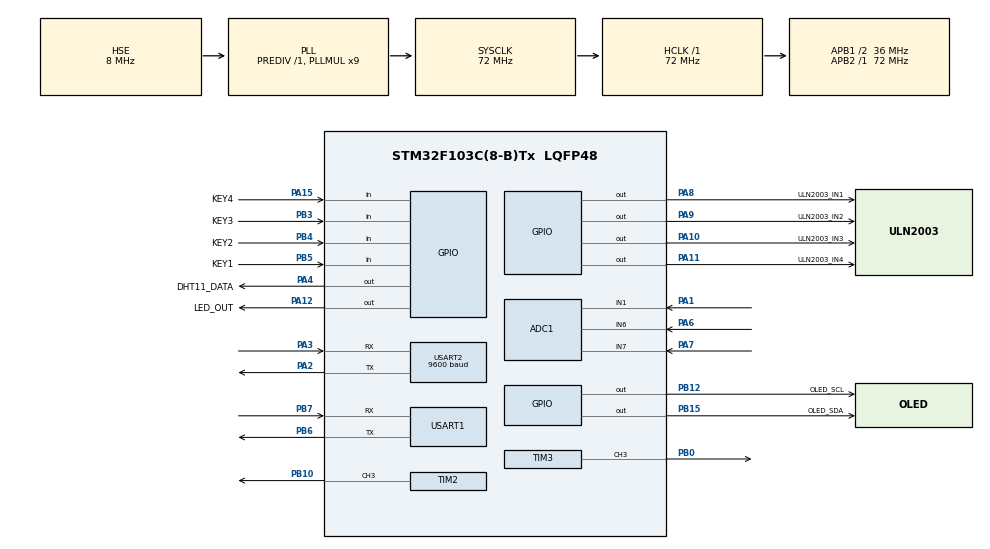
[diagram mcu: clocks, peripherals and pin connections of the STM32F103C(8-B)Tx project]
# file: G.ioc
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ADC1.Channel-0\#ChannelRegularConversion=ADC_CHANNEL_1
ADC1.Channel-2\#ChannelRegularConversion=ADC_CHANNEL_6
ADC1.Channel-3\#ChannelRegularConversion=ADC_CHANNEL_7
ADC1.DiscontinuousConvMode=ENABLE
ADC1.NbrOfConversion=3
ADC1.NbrOfConversionFlag=1
ADC1.Rank-0\#ChannelRegularConversion=1
ADC1.Rank-2\#ChannelRegularConversion=2
ADC1.Rank-3\#ChannelRegularConversion=3
ADC1.SamplingTime-0\#ChannelRegularConversion=ADC_SAMPLETIME_239CYCLES_5
ADC1.SamplingTime-2\#ChannelRegularConversion=ADC_SAMPLETIME_239CYCLES_5
ADC1.SamplingTime-3\#ChannelRegularConversion=ADC_SAMPLETIME_239CYCLES_5
ADC1.master=1
Mcu.Family=STM32F1
Mcu.Name=STM32F103C(8-B)Tx
Mcu.Package=LQFP48
NVIC.PriorityGroup=NVIC_PRIORITYGROUP_4
NVIC.USART2_IRQn=true\:0\:0\:false\:false\:true\:true\:true\:true
PA1.Signal=ADCx_IN1
PA10.GPIO_Label=ULN2003_IN3
PA10.GPIO_ModeDefaultOutputPP=GPIO_MODE_OUTPUT_PP
PA10.GPIO_PuPd=GPIO_NOPULL
PA10.GPIO_Speed=GPIO_SPEED_FREQ_HIGH
PA10.PinState=GPIO_PIN_RESET
PA10.Signal=GPIO_Output
PA11.GPIO_Label=ULN2003_IN4
PA11.GPIO_ModeDefaultOutputPP=GPIO_MODE_OUTPUT_PP
PA11.GPIO_PuPd=GPIO_NOPULL
PA11.GPIO_Speed=GPIO_SPEED_FREQ_HIGH
PA11.PinState=GPIO_PIN_RESET
PA11.Signal=GPIO_Output
PA12.GPIO_Label=LED_OUT
PA12.GPIO_PuPd=GPIO_PULLDOWN
PA12.GPIO_Speed=GPIO_SPEED_FREQ_HIGH
PA12.PinState=GPIO_PIN_RESET
PA12.Signal=GPIO_Output
PA13.Mode=Serial_Wire
PA13.Signal=SYS_JTMS-SWDIO
PA14.Mode=Serial_Wire
PA14.Signal=SYS_JTCK-SWCLK
PA15.GPIO_Label=KEY4
PA15.GPIO_Mode=GPIO_MODE_INPUT
PA15.GPIO_PuPd=GPIO_PULLUP
PA15.Signal=GPIO_Input
PA2.Mode=Asynchronous
PA2.Signal=USART2_TX
PA3.Mode=Asynchronous
PA3.Signal=USART2_RX
PA4.GPIO_Label=DHT11_DATA
PA4.GPIO_Speed=GPIO_SPEED_FREQ_HIGH
PA4.Signal=GPIO_Output
PA6.Signal=ADCx_IN6
PA7.Signal=ADCx_IN7
PA8.GPIO_Label=ULN2003_IN1
PA8.GPIO_ModeDefaultOutputPP=GPIO_MODE_OUTPUT_PP
PA8.GPIO_PuPd=GPIO_NOPULL
PA8.GPIO_Speed=GPIO_SPEED_FREQ_HIGH
PA8.PinState=GPIO_PIN_RESET
PA8.Signal=GPIO_Output
PA9.GPIO_Label=ULN2003_IN2
PA9.GPIO_ModeDefaultOutputPP=GPIO_MODE_OUTPUT_PP
PA9.GPIO_PuPd=GPIO_NOPULL
PA9.GPIO_Speed=GPIO_SPEED_FREQ_HIGH
PA9.PinState=GPIO_PIN_RESET
PA9.Signal=GPIO_Output
PB0.GPIO_Speed=GPIO_SPEED_FREQ_HIGH
PB0.Signal=S_TIM3_CH3
PB10.GPIO_Speed=GPIO_SPEED_FREQ_HIGH
PB10.Signal=S_TIM2_CH3
PB12.GPIO_Label=OLED_SCL
PB12.GPIO_Speed=GPIO_SPEED_FREQ_HIGH
PB12.PinState=GPIO_PIN_RESET
PB12.Signal=GPIO_Output
PB15.GPIO_Label=OLED_SDA
PB15.GPIO_Speed=GPIO_SPEED_FREQ_HIGH
PB15.Signal=GPIO_Output
PB3.GPIO_Label=KEY3
PB3.GPIO_Mode=GPIO_MODE_INPUT
PB3.GPIO_PuPd=GPIO_PULLUP
PB3.Signal=GPIO_Input
PB4.GPIO_Label=KEY2
PB4.GPIO_Mode=GPIO_MODE_INPUT
PB4.GPIO_PuPd=GPIO_PULLUP
PB4.Signal=GPIO_Input
PB5.GPIO_Label=KEY1
PB5.GPIO_Mode=GPIO_MODE_INPUT
PB5.GPIO_PuPd=GPIO_PULLUP
PB5.Signal=GPIO_Input
PB6.Mode=Asynchronous
PB6.Signal=USART1_TX
PB7.Mode=Asynchronous
PB7.Signal=USART1_RX
PD0-OSC_IN.Mode=HSE-External-Oscillator
PD0-OSC_IN.Signal=RCC_OSC_IN
PD1-OSC_OUT.Mode=HSE-External-Oscillator
PD1-OSC_OUT.Signal=RCC_OSC_OUT
ProjectManager.HeapSize=0x200
ProjectManager.StackSize=0x400
ProjectManager.TargetToolchain=MDK-ARM V5.32
RCC.ADCPresc=RCC_ADCPCLK2_DIV6
RCC.AHBFreq_Value=72000000
RCC.APB1CLKDivider=RCC_HCLK_DIV2
RCC.APB1Freq_Value=36000000
RCC.APB1TimFreq_Value=72000000
RCC.APB2Freq_Value=72000000
RCC.APB2TimFreq_Value=72000000
RCC.HCLKFreq_Value=72000000
RCC.PLLMUL=RCC_PLL_MUL9
RCC.PLLSourceVirtual=RCC_PLLSOURCE_HSE
RCC.SYSCLKFreq_VALUE=72000000
RCC.SYSCLKSource=RCC_SYSCLKSOURCE_PLLCLK
RCC.USBFreq_Value=72000000
SH.ADCx_IN1.0=ADC1_IN1,IN1
SH.ADCx_IN6.0=ADC1_IN6,IN6
SH.ADCx_IN7.0=ADC1_IN7,IN7
SH.S_TIM2_CH3.0=TIM2_CH3,PWM Generation3 CH3
SH.S_TIM3_CH3.0=TIM3_CH3,PWM Generation3 CH3
TIM2.AutoReloadPreload=TIM_AUTORELOAD_PRELOAD_ENABLE
TIM2.Channel-PWM\ Generation3\ CH3=TIM_CHANNEL_3
TIM2.Period=19999
TIM2.Prescaler=71
TIM2.Pulse-PWM\ Generation3\ CH3=1500
TIM3.AutoReloadPreload=TIM_AUTORELOAD_PRELOAD_ENABLE
TIM3.Channel-PWM\ Generation3\ CH3=TIM_CHANNEL_3
TIM3.Period=19999
TIM3.Prescaler=71
TIM3.Pulse-PWM\ Generation3\ CH3=440
USART1.VirtualMode=VM_ASYNC
USART2.BaudRate=9600
USART2.VirtualMode=VM_ASYNC
VP_TIM2_VS_ClockSourceINT.Mode=Internal
VP_TIM3_VS_ClockSourceINT.Mode=Internal
board=custom

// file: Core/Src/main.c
/* USER CODE BEGIN Header */
/**
  ******************************************************************************
  * @file           : main.c
  * @brief          : Main program body
  ******************************************************************************
  * @attention
  *
  * Copyright (c) 2025 STMicroelectronics.
  * All rights reserved.
  *
  * This software is licensed under terms that can be found in the LICENSE file
  * in the root directory of this software component.
  * If no LICENSE file comes with this software, it is provided AS-IS.
  *
  ******************************************************************************
  */
/* USER CODE END Header */
#include "main.h"
#include "adc.h"
#include "tim.h"
#include "usart.h"
#include "gpio.h"
#include "oled.h"
#include "dht11.h"
#include "bt04a.h"
#include "uln2003.h"
#include "stdio.h"
#include "string.h"
#include "SG90.h"

/* USER CODE BEGIN PV */
void OLED_Poce(void);
void DATA_Poce(void);
void KEY_Poce(void);
/* USER CODE END PV */

void SystemClock_Config(void);

/* USER CODE BEGIN 0 */
extern float ADC_VAL[3];//
uint8_t oled[100] = {0};
int TIME[3] = {16,12,24};
float Threshold[3] = {2.0f,0.5f,1.5f};
uint8_t ch_flag = 0;//窗户标志位
uint8_t cl_flag = 0;//窗帘标志位
uint8_t bj_flag = 0;
uint8_t dj_flag = 0;
int cl_time = 0;//定时打开窗帘时间
int cl_max = 10 * 1000;
extern unsigned int rec_data[4];
uint8_t ren_flag = 0;//行人靠近标志位
uint8_t koqi_flag = 0;//空气质量标志位
uint8_t yu_flag = 0;//有无下雨标志位
uint8_t mode = 0;//运行模式标志位
uint8_t page = 0;
uint8_t key = 0;
uint8_t key1;
uint8_t select_flag = 0;
/* USER CODE END 0 */

int main(void)
{

  /* MCU Configuration--------------------------------------------------------*/

  /* Reset of all peripherals, Initializes the Flash interface and the Systick. */
  HAL_Init();

  /* Configure the system clock */
  SystemClock_Config();

  /* Initialize all configured peripherals */
  MX_GPIO_Init();
  MX_ADC1_Init();
  MX_USART1_UART_Init();
  MX_USART2_UART_Init();
  MX_TIM3_Init();
  MX_TIM2_Init();
	HAL_TIM_PWM_Start(&htim3,TIM_CHANNEL_3);
  /* USER CODE BEGIN 2 */
	DWT_Init();
	BT04A_Init();
	OLED_Init();
	OLED_Clear();
  /* USER CODE END 2 */

  /* Infinite loop */
  while (1)
  {
		KEY_Poce();
		DATA_Poce();
		OLED_Poce();
  }
}

void SystemClock_Config(void)
{
  RCC_OscInitTypeDef RCC_OscInitStruct = {0};
  RCC_ClkInitTypeDef RCC_ClkInitStruct = {0};
  RCC_PeriphCLKInitTypeDef PeriphClkInit = {0};

  /** Initializes the RCC Oscillators according to the specified parameters
  * in the RCC_OscInitTypeDef structure.
  */
  RCC_OscInitStruct.OscillatorType = RCC_OSCILLATORTYPE_HSE;
  RCC_OscInitStruct.HSEState = RCC_HSE_ON;
  RCC_OscInitStruct.HSEPredivValue = RCC_HSE_PREDIV_DIV1;
  RCC_OscInitStruct.HSIState = RCC_HSI_ON;
  RCC_OscInitStruct.PLL.PLLState = RCC_PLL_ON;
  RCC_OscInitStruct.PLL.PLLSource = RCC_PLLSOURCE_HSE;
  RCC_OscInitStruct.PLL.PLLMUL = RCC_PLL_MUL9;
  if (HAL_RCC_OscConfig(&RCC_OscInitStruct) != HAL_OK)
  {
    Error_Handler();
  }

  /** Initializes the CPU, AHB and APB buses clocks
  */
  RCC_ClkInitStruct.ClockType = RCC_CLOCKTYPE_HCLK|RCC_CLOCKTYPE_SYSCLK
                              |RCC_CLOCKTYPE_PCLK1|RCC_CLOCKTYPE_PCLK2;
  RCC_ClkInitStruct.SYSCLKSource = RCC_SYSCLKSOURCE_PLLCLK;
  RCC_ClkInitStruct.AHBCLKDivider = RCC_SYSCLK_DIV1;
  RCC_ClkInitStruct.APB1CLKDivider = RCC_HCLK_DIV2;
  RCC_ClkInitStruct.APB2CLKDivider = RCC_HCLK_DIV1;

  if (HAL_RCC_ClockConfig(&RCC_ClkInitStruct, FLASH_LATENCY_2) != HAL_OK)
  {
    Error_Handler();
  }
  PeriphClkInit.PeriphClockSelection = RCC_PERIPHCLK_ADC;
  PeriphClkInit.AdcClockSelection = RCC_ADCPCLK2_DIV6;
  if (HAL_RCCEx_PeriphCLKConfig(&PeriphClkInit) != HAL_OK)
  {
    Error_Handler();
  }
}

/* USER CODE BEGIN 4 */
void OLED_Poce(void)
{
	switch(page)
	{
		case 0:
		{
		//标题 + 模式
		OLED_ShowChinese(16,0,7,16,1);
		OLED_ShowChinese(32,0,8,16,1);
		OLED_ShowChinese(48,0,9,16,1);
		OLED_ShowChinese(64,0,10,16,1);

		if(mode == 0)
		{
			OLED_ShowChinese(96,0,4,16,1);
			OLED_ShowChinese(112,0,5,16,1);
		}
		else
		{
			OLED_ShowChinese(96,0,6,16,1);
			OLED_ShowChinese(112,0,5,16,1);
		}
		//湿度、时间、温度
		OLED_ShowNum(0,16,rec_data[0],2,16,1);
		OLED_ShowNum(32,16,TIME[0],2,16,1);
		OLED_ShowChar(48,16,':',16,1);
		OLED_ShowNum(54,16,TIME[1],2,16,1);
		OLED_ShowChar(70,16,':',16,1);
		OLED_ShowNum(78,16,TIME[2],2,16,1);
		OLED_ShowNum(110,16,rec_data[2],2,16,1);
		//窗户状态
		if(ch_flag == 0)
		{
			OLED_ShowChinese(0,32,9,16,1);
			OLED_ShowChinese(16,32,10,16,1);
			OLED_ShowChar(32,32,':',16,1);
			OLED_ShowChinese(40,32,21,16,1);
		}
		else if(ch_flag == 1)
		{
			OLED_ShowChinese(0,32,9,16,1);
			OLED_ShowChinese(16,32,10,16,1);
			OLED_ShowChar(32,32,':',16,1);
			OLED_ShowChinese(40,32,20,16,1);
		}//窗帘状态
		if(cl_flag == 0)
		{
			OLED_ShowChinese(72,32,9,16,1);
			OLED_ShowChinese(88,32,19,16,1);
			OLED_ShowChar(104,32,':',16,1);
			OLED_ShowChinese(112,32,20,16,1);
		}
		else if(cl_flag == 1)
		{
			OLED_ShowChinese(72,32,9,16,1);
			OLED_ShowChinese(88,32,19,16,1);
			OLED_ShowChar(104,32,':',16,1);
			OLED_ShowChinese(112,32,21,16,1);
		}
		//有无雨
		if(yu_flag == 0)
		{
			OLED_ShowChinese(0,48,23,16,1);
			OLED_ShowChinese(16,48,29,16,1);
		}
		else
		{
			OLED_ShowChinese(0,48,22,16,1);
			OLED_ShowChinese(16,48,29,16,1);
		}
		//有无行人靠近
		if(ren_flag == 0)
		{
			OLED_ShowChinese(48,48,23,16,1);
			OLED_ShowChinese(64,48,24,16,1);
		}
		else
		{
			OLED_ShowChinese(48,48,22,16,1);
			OLED_ShowChinese(64,48,24,16,1);
		}
		//空气状态
		if(koqi_flag == 0)
		{
			OLED_ShowChinese(96,48,15,16,1);
			OLED_ShowChinese(112,48,16,16,1);
		}
		else
		{
			OLED_ShowChinese(96,48,17,16,1);
			OLED_ShowChinese(112,48,18,16,1);
		}
			break;
		}
		case 1:
		{
			//参数标题
			OLED_ShowChinese(0,0,30,16,1);
			OLED_ShowChinese(16,0,31,16,1);
			sprintf((char *)oled,"            ");
			OLED_ShowString(32,0,oled,16,1);
			//雨量参数
			OLED_ShowChinese(0,16,29,16,1);
			OLED_ShowChinese(16,16,32,16,1);
			OLED_ShowChar(32,16,':',16,1);
			sprintf((char *)oled,"%.2f",Threshold[0]);
			OLED_ShowString(40,16,oled,16,1);
			sprintf((char *)oled,"         ");
			OLED_ShowString(72,16,oled,16,1);
			//空气质量参数
			OLED_ShowChinese(0,32,33,16,1);
			OLED_ShowChinese(16,32,34,16,1);
			OLED_ShowChar(32,32,':',16,1);
			sprintf((char *)oled,"%.2f",Threshold[1]);
			OLED_ShowString(40,32,oled,16,1);
			sprintf((char *)oled,"         ");
			OLED_ShowString(72,32,oled,16,1);
			//行人距离参数
			OLED_ShowChinese(0,48,35,16,1);
			OLED_ShowChinese(16,48,36,16,1);
			OLED_ShowChar(32,48,':',16,1);
			sprintf((char *)oled,"%.2f",Threshold[2]);
			OLED_ShowString(40,48,oled,16,1);
			sprintf((char *)oled,"         ");
			OLED_ShowString(72,48,oled,16,1);
			break;
		}
	}
}

void DATA_Poce(void)
{
	data_read();
	BT04A_DATA_Pro();
	DHT11_REC_Data();
	//雨量,有雨关窗并发送数据给上位机，没雨开窗并发送数据给上位机，更新窗户标志位
	if(mode == 0)
	{
		if(ADC_VAL[0] < Threshold[0])
		{
			ch_flag = 1;
			yu_flag = 1;
			if(dj_flag == 0)
			{
				dj_flag = 1;
				Servo_SetAngle(&htim3,0);
				BT04A_SendString("youyu_guanchuan");
			}
		}
		else
		{
			ch_flag = 0;
			yu_flag = 0;
			if(dj_flag == 1)
			{
				dj_flag = 0;
				Servo_SetAngle(&htim3,90);
				BT04A_SendString("meiyu_kaichuan");
			}
		}
	}
	//定时开窗帘晒太阳，自动模式按照定时器启动，手动模式下发命令启动
	if(mode == 1)
		cl_time = 0;
	if(cl_flag == 0)
	{
		if(bj_flag == 0)
		{
			bj_flag = 1;
			YJ45_Start();
		}
	}
	else
	{
		if(bj_flag == 1)
		{
			bj_flag = 0;
			YJ45_Start();
		}
	}
	//检测空气中污染空气含量，超过一个值更新显示并通过蓝牙报警
	if(ADC_VAL[1] > Threshold[1])
	{
		koqi_flag = 1;
		BT04A_SendString("koqi_jinbao");
	}
	else
		koqi_flag = 0;
	//检测行人靠近距离，靠太近了触发报警，亮LED灯并通过蓝牙发送警报
	if(ADC_VAL[2] < Threshold[2])
	{
		ren_flag = 1;
		HAL_GPIO_WritePin(GPIOA,GPIO_PIN_12,GPIO_PIN_SET);
		HAL_TIM_PWM_Start(&htim2,TIM_CHANNEL_3);
		BT04A_SendString("youren_kaojin");
	}
	else
	{
		ren_flag = 0;
		HAL_TIM_PWM_Stop(&htim2,TIM_CHANNEL_3);
		HAL_GPIO_WritePin(GPIOA,GPIO_PIN_12,GPIO_PIN_RESET);
	}
}

void KEY_Poce(void)
{
	key1 = key_read();
	if(key != key1)
		key = key1;
	else
		key1 = 0;
	switch(key1)
	{
		case 1://页面切换
		{
			page++;
			if(page > 1)
				page = 0;
			OLED_Clear();
			if(page == 0)
				select_flag = 0;
			break;
		}
		case 2://主页面下按键控制模式切换，参数页面下控制选择位
		{
			if(page == 0)
			{
				mode++;
				if(mode > 1)
					mode = 0;
			}
			else
			{
				select_flag++;
				if(select_flag > 2)
					select_flag = 0;
			}
			break;
		}
		case 3://主页面下，手动模式打开窗帘,参数页面下+0.3f
		{
			if(page == 0)
			{
				if(mode == 1)
				{
					cl_flag++;
					if(cl_flag > 1)
						cl_flag = 0;
				}
			}
			else
			{
				switch(select_flag)
				{
					case 0://雨量参数
					{
						Threshold[0] += 0.3f;
						if(Threshold[0] > 3.0f)
							Threshold[0] = 0.0f;
						break;
					}
					case 1://距离参数
					{
						Threshold[1] += 0.3f;
						if(Threshold[1] > 3.0f)
							Threshold[1] = 0.0f;
						break;
					}
					case 2://空气质量参数
					{
						Threshold[2] += 0.3f;
						if(Threshold[2] > 3.0f)
							Threshold[2] = 0.0f;
						break;
					}
				}
			}
			break;
		}
		case 4://主页面下，手动模式打开窗户,参数页面下-0.3f
		{
			if(page == 0)
			{
				if(mode == 1)
				{
					ch_flag++;
					if(ch_flag > 1)
						ch_flag = 0;
					if(ch_flag == 1)
						Servo_SetAngle(&htim3,0);
					else
						Servo_SetAngle(&htim3,90);
				}
			}
			else
			{
				switch(select_flag)
				{
					case 0:
					{
						break;
					}
					case 1:
					{
						break;
					}
					case 2:
					{
						break;
					}
				}
			}
			break;
		}
	}
}
/* USER CODE END 4 */

void Error_Handler(void)
{
  __disable_irq();
  while (1)
  {
  }
}
